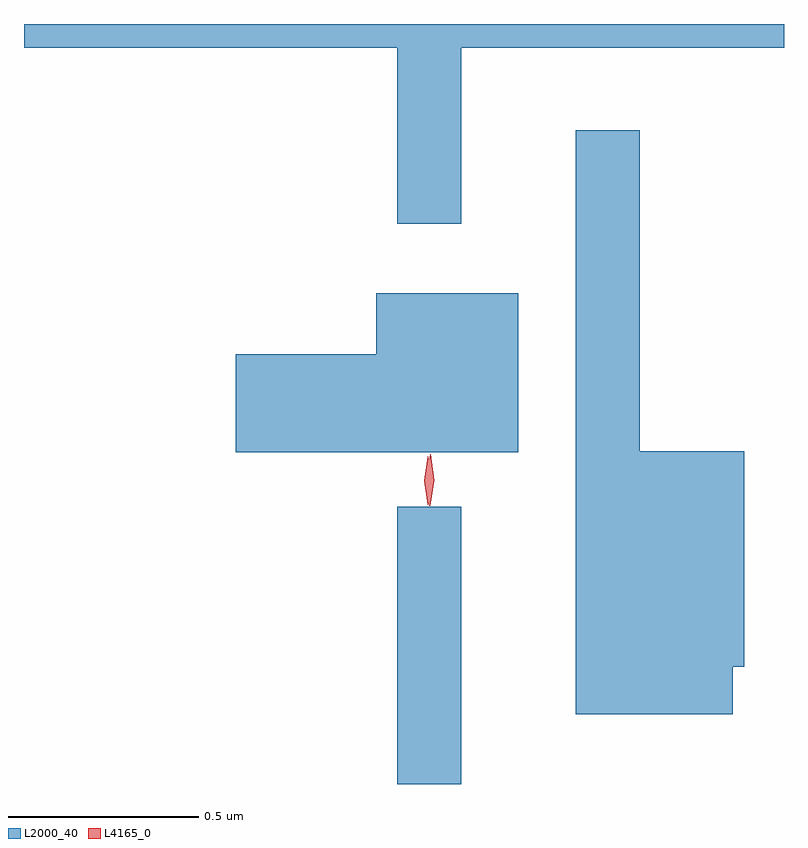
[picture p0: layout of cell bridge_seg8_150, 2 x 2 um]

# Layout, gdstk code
import gdstk
lib = gdstk.Library(unit=1e-6, precision=1e-09)
def R(c, l, rs):  # rectangles x0, y0, x1, y1
    for r in rs: c.add(gdstk.rectangle(r[:2], r[2:], *l))
def P(c, l, *ps):  # polygons
    for p in ps: c.add(gdstk.Polygon(p, *l))
L2000_40 = (2000, 40)
L4165_0 = (4165, 0)

bridge_seg8_150 = lib.new_cell('bridge_seg8_150')
R(bridge_seg8_150, L2000_40, [(1798.951,1843.358,1799.119,1844.088)])
P(bridge_seg8_150, L2000_40, [(1799.119,1845.296),(1799.969,1845.296),(1799.969,1845.358),(1797.969,1845.358),(1797.969,1845.296),(1798.951,1845.296),(1798.951,1844.833),(1799.119,1844.833)],
  [(1799.834,1843.666),(1799.864,1843.666),(1799.864,1844.234),(1799.589,1844.234),(1799.589,1845.078),(1799.421,1845.078),(1799.421,1843.541),(1799.834,1843.541)],
  [(1799.269,1844.649),(1798.896,1844.649),(1798.896,1844.489),(1798.526,1844.489),(1798.526,1844.231),(1799.269,1844.231)])
P(bridge_seg8_150, L4165_0, [(1799.032,1844.093),(1799.032,1844.093),(1799.022,1844.156),(1799.032,1844.219),(1799.032,1844.22),(1799.033,1844.219),(1799.042,1844.156),(1799.033,1844.093)],
  [(1799.036,1844.09),(1799.028,1844.158),(1799.038,1844.226),(1799.038,1844.226),(1799.039,1844.226),(1799.048,1844.158),(1799.038,1844.09),(1799.037,1844.09)])

lib.write_gds('bridge_seg8_150.gds')
